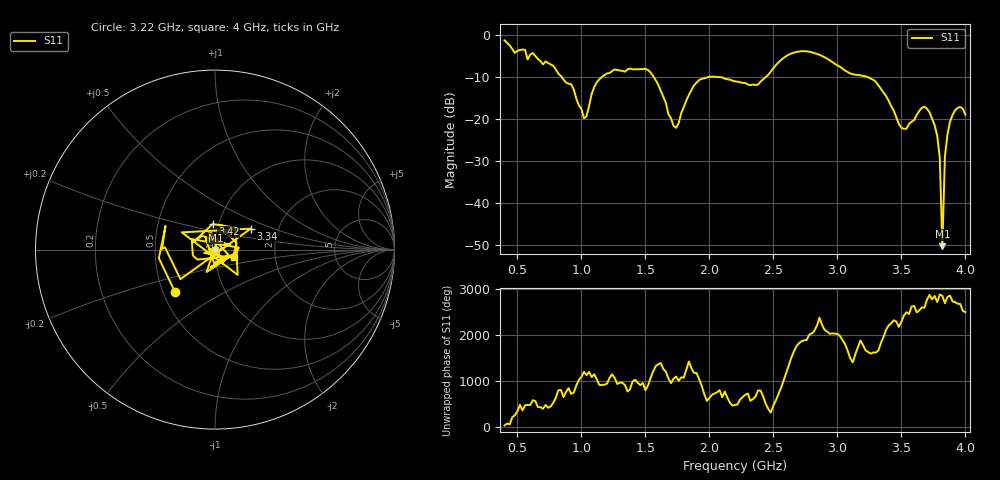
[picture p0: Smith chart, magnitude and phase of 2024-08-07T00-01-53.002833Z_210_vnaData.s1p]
!Created with skrf (http://scikit-rf.org).
# Hz S RI R 50.0
!freq ReS11 ImS11
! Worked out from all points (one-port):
!   181 points, 400 MHz to 4 GHz, reference 50 ohm
!   lowest |S11| = -50.3 dB at 3.82 GHz (marker M1), VSWR 1.01, Z = 50.3 - j0.136 ohm
!   |S11| at or under -10 dB: 1.567 GHz to 1.986 GHz (418.9 MHz wide, 23.6 % of centre); 2.093 GHz to 2.439 GHz (346.5 MHz wide, 15.3 % of centre); 3.24 GHz to end of sweep (the widest 3 of 4)
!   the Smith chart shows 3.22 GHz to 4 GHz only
!   S11 on the Smith chart (normalised r, x): 3.22 GHz: 0.58, -0.30; 3.34 GHz: 1.44, +0.36; 3.42 GHz: 0.94, +0.27; 4 GHz: 1.23, -0.10
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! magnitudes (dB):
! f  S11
! 400 MHz  -1.2
! 860 MHz  -10.5
! 920 MHz  -11.7
! 1.02 GHz  -19.8
! 1.12 GHz  -11.2
! 1.3 GHz  -8.4
! 1.54 GHz  -8.8
! 1.72 GHz  -21.6
! 1.76 GHz  -20.9
! 1.92 GHz  -10.6
! 2.2 GHz  -11.0
! 2.38 GHz  -11.7
! 2.66 GHz  -4.1
! 2.86 GHz  -4.6
! 3.1 GHz  -9.1
! 3.22 GHz  -9.8
! 3.34 GHz  -12.7
! 3.42 GHz  -16.9
! 3.5 GHz  -22.1
! 3.56 GHz  -21.1
! 3.68 GHz  -17.0
! 3.76 GHz  -21.5
! 3.8 GHz  -29.4
! 3.82 GHz  -50.3
! 3.84 GHz  -28.9
! 3.86 GHz  -23.6
! 3.92 GHz  -17.9
! 4 GHz  -18.9
